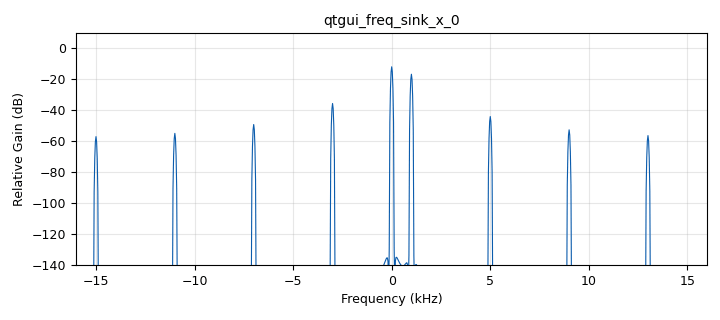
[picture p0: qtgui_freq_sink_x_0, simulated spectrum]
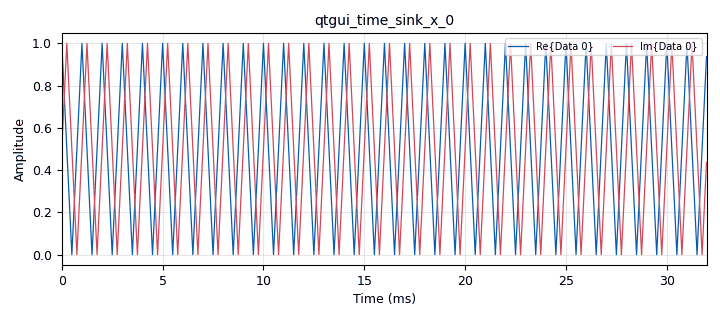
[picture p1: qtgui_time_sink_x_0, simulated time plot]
options:
  parameters:
    generate_options: qt_gui
    id: gui_1_4
    output_language: python
    title: Not titled yet
  states: {}

blocks:
- name: samp_rate
  id: variable
  parameters:
    value: '32000'
  states: {}
- name: analog_sig_source_x_0
  id: analog_sig_source_x
  parameters:
    amp: '1'
    freq: '1000'
    offset: '0'
    phase: '0'
    samp_rate: samp_rate
    type: complex
    waveform: analog.GR_TRI_WAVE
  states: {}
- name: blocks_throttle2_0
  id: blocks_throttle2
  parameters:
    comment: Slow down the scheduler
    samples_per_second: samp_rate
    type: complex
  states: {}
- name: qtgui_freq_sink_x_0
  id: qtgui_freq_sink_x
  parameters:
    bw: samp_rate
    fc: '0'
    fftsize: '1024'
    type: complex
  states: {}
- name: qtgui_time_sink_x_0
  id: qtgui_time_sink_x
  parameters:
    autoscale: 'True'
    size: '1024'
    srate: samp_rate
    type: complex
  states: {}

connections:
- [analog_sig_source_x_0, '0', blocks_throttle2_0, '0']
- [blocks_throttle2_0, '0', qtgui_freq_sink_x_0, '0']
- [blocks_throttle2_0, '0', qtgui_time_sink_x_0, '0']

metadata:
  file_format: 1
  grc_version: 3.10.12.0
